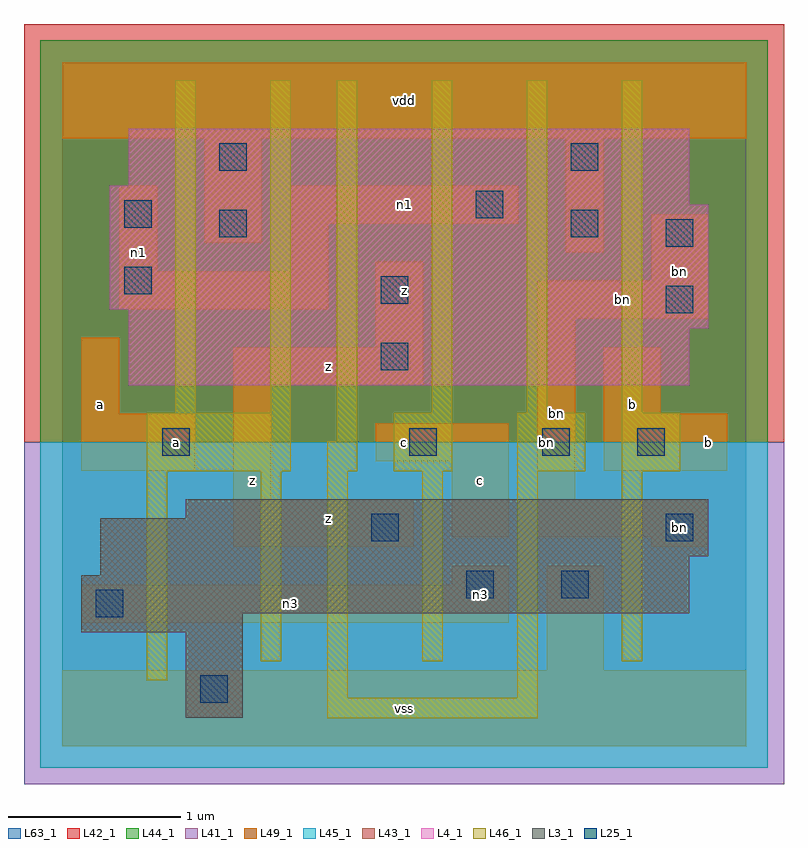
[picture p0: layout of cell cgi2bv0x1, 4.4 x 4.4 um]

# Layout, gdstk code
import gdstk
lib = gdstk.Library(unit=1e-6, precision=1e-09)
def R(c, l, rs):  # rectangles x0, y0, x1, y1
    for r in rs: c.add(gdstk.rectangle(r[:2], r[2:], *l))
def A(c, l, x, y, w, h, nx, ny, dx, dy):  # array of equal rectangles
    R(c, l, [(x+i*dx, y+j*dy, x+i*dx+w, y+j*dy+h) for i in range(nx) for j in range(ny)])
L3_1 = (3, 1)
L4_1 = (4, 1)
L25_1 = (25, 1)
L41_1 = (41, 1)
L42_1 = (42, 1)
L43_1 = (43, 1)
L44_1 = (44, 1)
L45_1 = (45, 1)
L46_1 = (46, 1)
L49_1 = (49, 1)
L63_1 = (63, 1)

cgi2bv0x1 = lib.new_cell('cgi2bv0x1')
R(cgi2bv0x1, L3_1, [(0.715,0.165,1.045,0.66), (0.11,0.66,1.045,0.77), (0.11,0.77,3.63,0.99), (0.22,0.99,3.63,1.1), (0.22,1.1,3.74,1.32), (0.715,1.32,3.74,1.43)])
R(cgi2bv0x1, L4_1, [(0.385,2.09,3.63,2.42), (0.385,2.42,3.74,2.53), (0.275,2.53,3.74,3.135), (0.275,3.135,3.63,3.245), (0.385,3.245,3.63,3.575)])
R(cgi2bv0x1, L25_1, [(0.8,0.25,0.96,0.41), (0.195,0.745,0.355,0.905), (2.34,0.855,2.5,1.015), (2.89,0.855,3.05,1.015), (1.79,1.185,1.95,1.345), (3.495,1.185,3.655,1.345), (0.58,1.68,0.74,1.84), (2.01,1.68,2.17,1.84), (2.78,1.68,2.94,1.84), (3.33,1.68,3.49,1.84), (1.845,2.175,2.005,2.335), (3.495,2.505,3.655,2.665), (1.845,2.56,2.005,2.72), (0.36,2.615,0.52,2.775), (3.495,2.89,3.655,3.05), (0.91,2.945,1.07,3.105), (2.945,2.945,3.105,3.105), (0.36,3,0.52,3.16), (2.395,3.055,2.555,3.215), (0.91,3.33,1.07,3.49), (2.945,3.33,3.105,3.49)])
R(cgi2bv0x1, L41_1, [(-0.22,-0.22,4.18,1.76)])
R(cgi2bv0x1, L42_1, [(-0.22,1.76,4.18,4.18)])
R(cgi2bv0x1, L43_1, [(0.715,0.165,1.045,0.66), (0.11,0.66,1.045,0.77), (0.11,0.77,3.63,0.99), (0.22,0.99,3.63,1.1), (0.22,1.1,3.74,1.32), (0.715,1.32,3.74,1.43), (0.385,2.09,3.63,2.42), (0.385,2.42,3.74,2.53), (0.275,2.53,3.74,3.135), (0.275,3.135,3.63,3.245), (0.385,3.245,3.63,3.575)])
R(cgi2bv0x1, L44_1, [(-0.125,1.76,4.085,4.085)])
R(cgi2bv0x1, L45_1, [(-0.125,-0.125,4.085,1.76)])
A(cgi2bv0x1, L46_1, 2.14, 1.93, 0.12, 1.925, 3, 1, 0.55, 0)
R(cgi2bv0x1, L46_1, [(1.535,0.16,2.755,0.28), (1.535,0.28,1.655,1.59), (2.635,0.28,2.755,1.59), (0.49,0.38,0.61,1.59), (1.15,0.49,1.27,1.59), (2.085,0.49,2.205,1.59), (3.24,0.49,3.36,1.59), (0.49,1.59,1.325,1.93), (1.535,1.59,1.71,1.765), (1.92,1.59,2.26,1.93), (2.635,1.59,3.03,1.93), (3.24,1.59,3.58,1.93), (1.59,1.765,1.71,3.855), (0.655,1.93,0.775,3.855), (1.205,1.93,1.325,3.855)])
R(cgi2bv0x1, L49_1, [(0,0,3.96,0.44), (2.805,0.44,3.135,1.045), (0.11,0.715,2.585,0.935), (2.255,0.935,2.585,1.045), (0.99,1.155,2.035,1.43), (3.41,1.155,3.74,1.21), (2.255,1.21,2.585,1.65), (2.75,1.21,3.74,1.43), (0.99,1.43,1.21,2.09), (2.75,1.43,2.97,2.475), (0.11,1.595,0.77,1.925), (3.135,1.595,3.85,1.925), (1.815,1.65,2.585,1.87), (0.11,1.925,0.33,2.365), (3.135,1.925,3.465,2.31), (0.99,2.09,2.09,2.31), (1.815,2.31,2.09,2.805), (2.75,2.475,3.74,2.695), (0.33,2.53,1.54,2.75), (3.41,2.695,3.74,3.08), (0.33,2.75,0.55,3.245), (1.32,2.75,1.54,3.025), (2.915,2.86,3.135,3.52), (0.825,2.915,1.155,3.52), (1.32,3.025,2.64,3.245), (0,3.52,3.96,3.96)])
R(cgi2bv0x1, L63_1, [(0,0,3.96,3.96)])
cgi2bv0x1.add(gdstk.Label('bn', (2.805,1.76), layer=49, texttype=1))
cgi2bv0x1.add(gdstk.Label('a', (0.66,1.76), layer=49, texttype=1))
cgi2bv0x1.add(gdstk.Label('a', (0.22,1.98), layer=49, texttype=1))
cgi2bv0x1.add(gdstk.Label('n1', (0.44,2.86), layer=49, texttype=1))
cgi2bv0x1.add(gdstk.Label('z', (1.1,1.54), layer=49, texttype=1))
cgi2bv0x1.add(gdstk.Label('z', (1.54,1.32), layer=49, texttype=1))
cgi2bv0x1.add(gdstk.Label('z', (1.54,2.2), layer=49, texttype=1))
cgi2bv0x1.add(gdstk.Label('vss', (1.98,0.22), layer=49, texttype=1))
cgi2bv0x1.add(gdstk.Label('n3', (1.32,0.825), layer=49, texttype=1))
cgi2bv0x1.add(gdstk.Label('n3', (2.42,0.88), layer=49, texttype=1))
cgi2bv0x1.add(gdstk.Label('c', (1.98,1.76), layer=49, texttype=1))
cgi2bv0x1.add(gdstk.Label('c', (2.42,1.54), layer=49, texttype=1))
cgi2bv0x1.add(gdstk.Label('bn', (2.86,1.925), layer=49, texttype=1))
cgi2bv0x1.add(gdstk.Label('z', (1.98,2.64), layer=49, texttype=1))
cgi2bv0x1.add(gdstk.Label('n1', (1.98,3.135), layer=49, texttype=1))
cgi2bv0x1.add(gdstk.Label('vdd', (1.98,3.74), layer=49, texttype=1))
cgi2bv0x1.add(gdstk.Label('bn', (3.575,1.265), layer=49, texttype=1))
cgi2bv0x1.add(gdstk.Label('b', (3.74,1.76), layer=49, texttype=1))
cgi2bv0x1.add(gdstk.Label('b', (3.3,1.98), layer=49, texttype=1))
cgi2bv0x1.add(gdstk.Label('bn', (3.245,2.585), layer=49, texttype=1))
cgi2bv0x1.add(gdstk.Label('bn', (3.575,2.75), layer=49, texttype=1))

lib.write_gds('cgi2bv0x1.gds')
